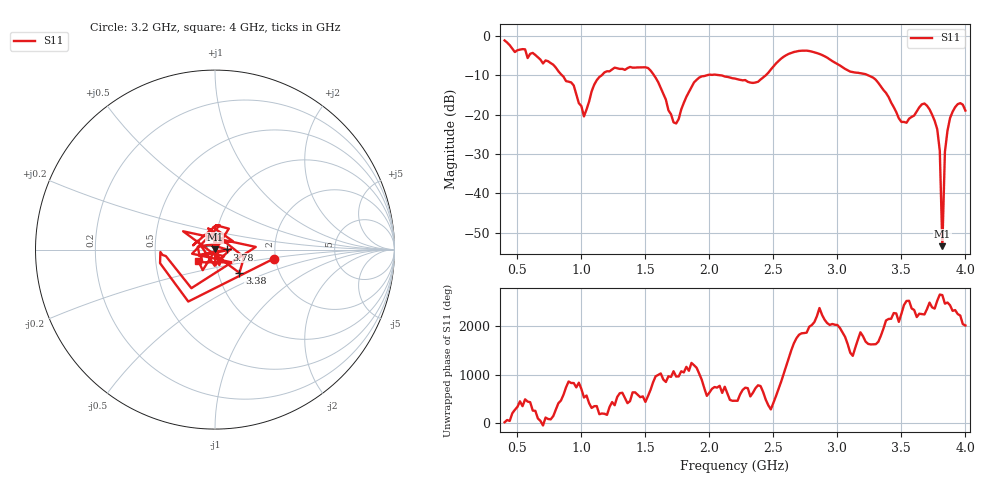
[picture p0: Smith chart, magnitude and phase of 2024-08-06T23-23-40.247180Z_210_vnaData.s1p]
!Created with skrf (http://scikit-rf.org).
# Hz S RI R 50.0
!freq ReS11 ImS11
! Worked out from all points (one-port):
!   181 points, 400 MHz to 4 GHz, reference 50 ohm
!   lowest |S11| = -53.4 dB at 3.82 GHz (marker M1), VSWR 1.00, Z = 49.9 + j0.191 ohm
!   |S11| at or under -10 dB: 1.567 GHz to 1.985 GHz (418 MHz wide, 23.5 % of centre); 2.072 GHz to 2.442 GHz (370 MHz wide, 16.4 % of centre); 3.238 GHz to end of sweep (the widest 3 of 4)
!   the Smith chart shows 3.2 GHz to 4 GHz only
!   S11 on the Smith chart (normalised r, x): 3.2 GHz: 1.95, -0.22; 3.38 GHz: 1.26, -0.34; 3.78 GHz: 1.14, +0.00; 4 GHz: 0.82, -0.10
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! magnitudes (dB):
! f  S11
! 400 MHz  -1.2
! 860 MHz  -10.4
! 940 MHz  -12.6
! 1.02 GHz  -20.5
! 1.12 GHz  -11.3
! 1.3 GHz  -8.4
! 1.52 GHz  -8.2
! 1.6 GHz  -11.8
! 1.72 GHz  -22.0
! 1.76 GHz  -21.1
! 1.92 GHz  -10.6
! 2.2 GHz  -10.9
! 2.38 GHz  -11.7
! 2.66 GHz  -4.1
! 2.86 GHz  -4.6
! 3.1 GHz  -9.1
! 3.2 GHz  -9.6
! 3.38 GHz  -14.5
! 3.5 GHz  -21.8
! 3.56 GHz  -21.0
! 3.68 GHz  -17.2
! 3.78 GHz  -23.7
! 3.8 GHz  -29.2
! 3.82 GHz  -53.4
! 3.84 GHz  -29.5
! 3.86 GHz  -24.1
! 3.94 GHz  -17.3
! 4 GHz  -19.0
